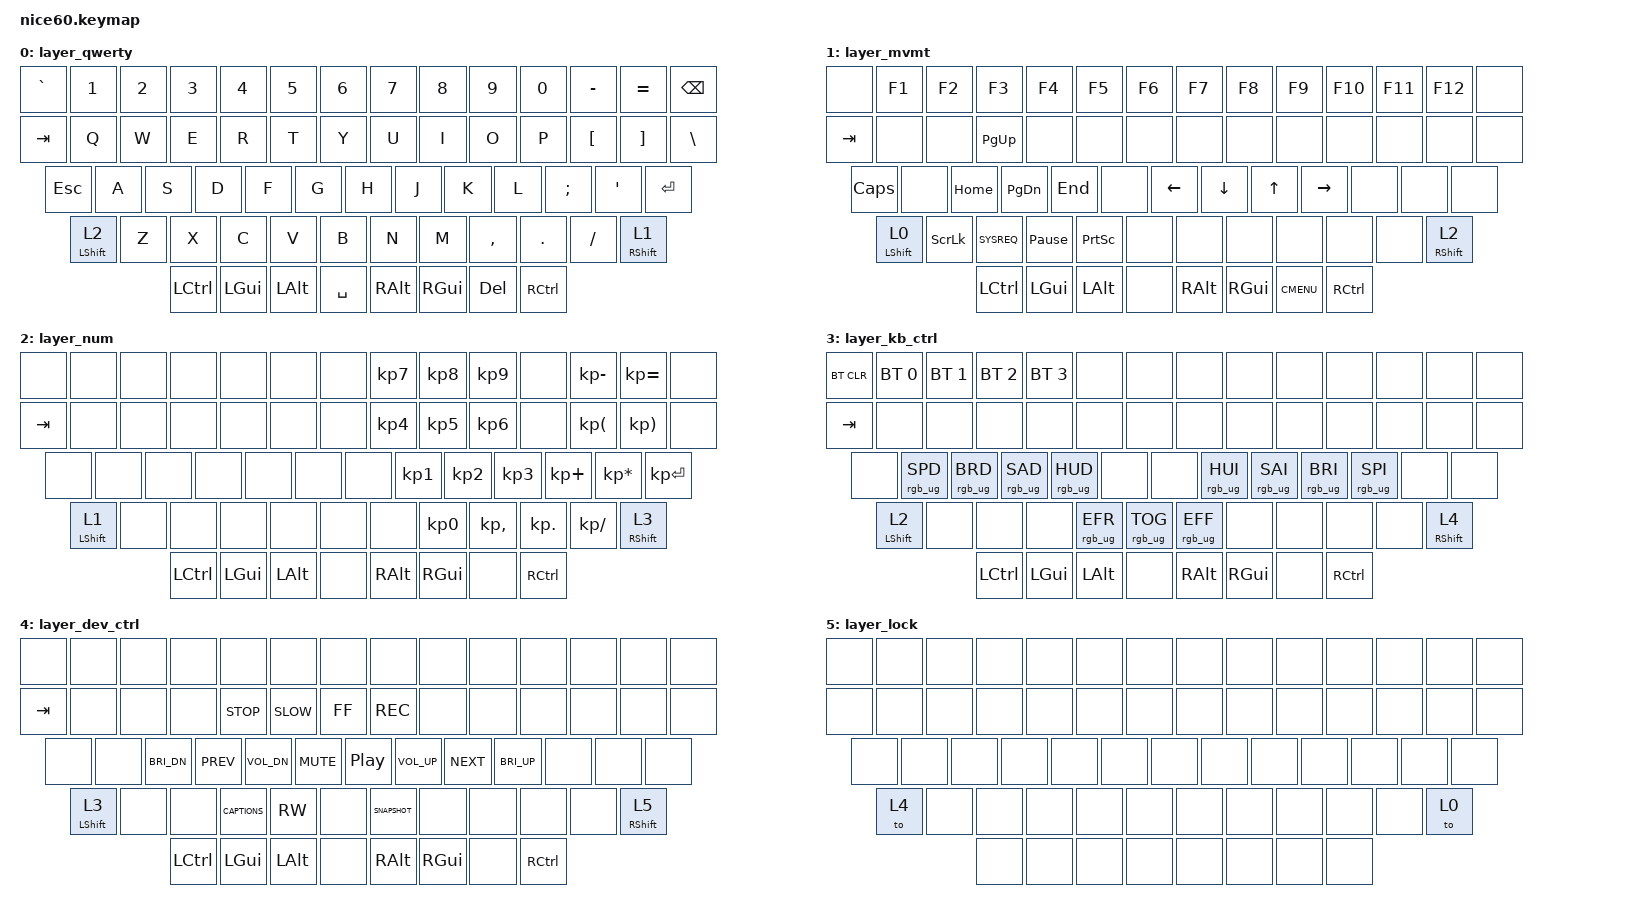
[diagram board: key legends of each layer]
/*
 * Copyright (c) 2021 Nick Winans
 *                    Colton Crowe
 *
 * SPDX-License-Identifier: MIT
 */

#include <behaviors.dtsi>
#include <dt-bindings/zmk/keys.h>
#include <dt-bindings/zmk/rgb.h>
#include <dt-bindings/zmk/bt.h>
#include <dt-bindings/zmk/outputs.h>
#include <dt-bindings/zmk/reset.h>
#include <dt-bindings/zmk/ext_power.h>

/ {
	behaviors {
		rlt: reverse_layer_tap {
			compatible = "zmk,behavior-hold-tap";
			label = "REVERSE_LAYER_TAP";
			#binding-cells = <2>;
			tapping-term-ms = <150>;
			flavor = "tap-preferred";
			bindings = <&kp>, <&to>;
		};
	};

	keymap {
		compatible = "zmk,keymap";
		
		layer_qwerty {
// -----------------------------------------------------------------------------------------------
// |  GRAVE   |  1  |  2  |  3  |  4  |  5  |  6  |  7  |  8  |  9  |  0  |  -  |  =  |   BKSP   |
// |   TAB     |  Q  |  W  |  E  |  R  |  T  |  Y  |  U  |  I  |  O  |  P  |  [  |  ]  |   "|"   |
// |   ESC      |  A  |  S  |  D  |  F  |  G  |  H  |  J  |  K  |  L  |  ;  |  '  |     ENTER    |
// | RLT(SHIFT,prv) |  Z  |  X  |  C  |  V  |  B  |  N  |  M  |  ,  |  .  |  /  | RLT(SHIFT,nxt) |
// |    CTL     |  WIN  |  ALT  |            SPACE              |  ALT  |  WIN  |  DEL   |  CTL  |
// -----------------------------------------------------------------------------------------------
			bindings = <
	&kp GRAVE &kp N1 &kp N2 &kp N3 &kp N4 &kp N5 &kp N6 &kp N7 &kp N8 &kp N9 &kp N0 &kp MINUS &kp EQUAL   &kp BSPC
	&kp TAB    &kp Q  &kp W  &kp E  &kp R  &kp T  &kp Y  &kp U  &kp I  &kp O  &kp P  &kp LBKT  &kp RBKT   &kp BSLH
	&kp ESC     &kp A  &kp S  &kp D  &kp F  &kp G  &kp H  &kp J  &kp K  &kp L  &kp SEMI &kp SQT            &kp RET
	&rlt LSHFT 2  &kp Z  &kp X  &kp C  &kp V  &kp B  &kp N  &kp M  &kp COMMA &kp DOT &kp FSLH         &rlt RSHFT 1
	&kp LCTRL   &kp LGUI &kp LALT             &kp SPACE                     &kp RALT  &kp RGUI  &kp DEL &kp RCTRL
			>;
		};

		layer_mvmt {
// --------------------------------------------------------------------------------------------------------------------------------
// |  None |   F1   |   F2   |   F3   |   F4   |   F5   |   F6   |   F7   |   F8   |   F9   |   F10  |   F11  |   F12  |   None   |
// |  TAB    |  None  |  None  |  PgUp  |  None  |  None  |  None  |  None  |  None  |  None  |  None  |   None  |  None |  None  |
// |  CAPS    |  None  |  HOME  |  PgDn  |  END   |  None  |  None  |  Left  |  Down  |   Up   |  Right |  None  |      None      |
// | RLT(SHIFT,prev)  |  SLck |  SysRq |  PauBr  |  PScrn |  None  |  None  |  None  |  None  |  None  |  None  | RLT(SHIFT,next) |
// |   CTL    |    WIN   |    ALT    |                     None                      |    ALT    |    WIN    |   MENU   |   CTL   |
// --------------------------------------------------------------------------------------------------------------------------------
			bindings = <
	&none    &kp F1 &kp F2 &kp F3 &kp F4 &kp F5 &kp F6 &kp F7 &kp F8  &kp F9 &kp F10 &kp F11   &kp F12        &none
	&kp TAB   &none  &none  &kp PG_UP &none  &none  &none  &none  &none  &none  &none  &none     &none        &none
	&kp CLCK  &none  &kp HOME  &kp PG_DN &kp END &none  &kp LEFT  &kp DOWN  &kp UP  &kp RIGHT  &none  &none   &none
	&rlt LSHFT 0 &kp SLCK &kp SYSREQ &kp PAUSE_BREAK &kp PSCRN &none  &none  &none  &none  &none &none &rlt RSHFT 2
	&kp LCTRL  &kp LGUI &kp LALT             &none                       &kp RALT  &kp RGUI  &kp K_CMENU  &kp RCTRL
			>;
		};

		layer_num {
// --------------------------------------------------------------------------------------------------------------------------------
// |  None |  None  |  None  |  None  |  None  |  None  |  None  |    7   |  8    |   9    |  None  | Minus  |  Equal  |   None   |
// |  TAB    |  None  |  None  |  None  |  None  |  None  |  None  |   4    |   5    |    6   |  None  | LParen |  RParen | None  |
// |  None    |  None  |  None  |  None  |  None  |  None  |  None  |   1    |   2    |   3    |  Plus  |  Times |      Enter     |
// | RLT(SHIFT,prev)  |  None  |  None  |  None  |  None  |  None  |  None  |   0    |  Comma |  Dot   |  Slash | RLT(SHIFT,next) |
// |   CTL    |    WIN   |    ALT    |                     None                      |    ALT    |    WIN    |   None   |   CTL   |
// --------------------------------------------------------------------------------------------------------------------------------
			bindings = <
	&none    &none  &none  &none  &none  &none  &none  &kp KP_N7 &kp KP_N8 &kp KP_N9 &none  &kp KP_MINUS     &kp KP_EQUAL         &none
	&kp TAB   &none  &none  &none  &none  &none  &none  &kp KP_N4  &kp KP_N5  &kp KP_N6  &none  &kp KP_LPAR     &kp KP_RPAR       &none
	&none      &none  &none  &none  &none  &none  &none  &kp KP_N1  &kp KP_N2  &kp KP_N3  &kp KP_PLUS    &kp KP_MULTIPLY   &kp KP_ENTER
	&rlt LSHFT 1 &none  &none  &none  &none  &none  &none  &kp KP_N0  &kp KP_COMMA     &kp KP_DOT   &kp KP_SLASH           &rlt RSHFT 3
	&kp LCTRL     &kp LGUI    &kp LALT                     &none                         &kp RALT    &kp RGUI    &none        &kp RCTRL
			>;
		};

		layer_kb_ctrl {
// --------------------------------------------------------------------------------------------------------------------------------
// | BT CLR |  BT 1  |  BT 2  |  BT 3  |  BT 4  |  None  |  None  |  None  |  None  |  None  |  None  |  None  |  None  |  None   |
// |  TAB    |  None  |  None  |  None  |  None  |  None  |  None  |  None  |  None  |  None  |  None  |   None  |  None |  None  |
// |  None    | SPDDN | BRIDN |  SATDN  |  HUEDN  |  None  |  None  |  HUEUP  |  SATUP  |  BRIUP  | SPDUP | None |      None      |
// | RLT(SHIFT,prev)  |  None  |  None | None | Effect Rev | Tog RGB | Effect Fwd | None | None | None |  None  | RLT(SHIFT,next) |
// |   CTL    |    WIN   |    ALT    |                     None                      |    ALT    |    WIN    |   NONE   |   CTL   |
// --------------------------------------------------------------------------------------------------------------------------------
			bindings = <
	&bt BT_CLR    &bt BT_SEL 0    &bt BT_SEL 1    &bt BT_SEL 2    &bt BT_SEL 3    &none    &none    &none    &none    &none    &none    &none    &none      &none
	&kp TAB        &none      &none      &none      &none      &none      &none      &none      &none       &none       &none       &none       &none       &none
	&none &rgb_ug RGB_SPD &rgb_ug RGB_BRD &rgb_ug RGB_SAD &rgb_ug RGB_HUD &none &none &rgb_ug RGB_HUI &rgb_ug RGB_SAI &rgb_ug RGB_BRI &rgb_ug RGB_SPI &none &none
	&rlt LSHFT 2    &none    &none    &none    &rgb_ug RGB_EFR    &rgb_ug RGB_TOG    &rgb_ug RGB_EFF    &none    &none    &none    &none             &rlt RSHFT 4
	&kp LCTRL        &kp LGUI        &kp LALT                             &none                            &kp RALT        &kp RGUI        &none        &kp RCTRL
			>;
		};

		layer_dev_ctrl {
// --------------------------------------------------------------------------------------------------------------------------------
// |  None |  None  |  None  |  None  |  None  |  None  |  None  |  None  |  None  |  None  |  None  |  None  |  None  |   None   |
// |  TAB    |  None  |  None  |  None  | Stop |  Slow  |  Ffwd  |  Record  |  None  |  None  |  None  |   None  |  None |  None  |
// |  None    |  None  |  BriDn |  Prev  | VolDn |  Mute  | Play/Pause | VolUp | Next | BriUp  |  None  |  None  |      None      |
// | RLT(SHIFT,prev)  |  None  |  None  | Caption |  RW   |  None  |  Snap  |  None  |  None  |  None  |  None  | RLT(SHIFT,next) |
// |   CTL    |    WIN   |    ALT    |                     None                      |    ALT    |    WIN    |   None   |   CTL   |
// --------------------------------------------------------------------------------------------------------------------------------
			bindings = <
	&none     &none   &none   &none    &none    &none   &none    &none   &none    &none    &none   &none     &none           &none
	&kp TAB   &none   &none   &none   &kp C_STOP  &kp C_SLOW  &kp C_FF  &kp C_REC  &none   &none   &none   &none    &none    &none
	&none  &none &kp C_BRI_DN &kp C_PREV &kp C_VOL_DN &kp C_MUTE &kp C_PP &kp C_VOL_UP &kp C_NEXT &kp C_BRI_UP &none  &none  &none
	&rlt LSHFT 3  &none   &none   &kp C_CAPTIONS  &kp C_RW  &none  &kp C_SNAPSHOT   &none   &none    &none    &none   &rlt RSHFT 5
	&kp LCTRL   &kp LGUI  &kp LALT                         &none                         &kp RALT   &kp RGUI   &none     &kp RCTRL
			>;
		};

		layer_lock {
// ---------------------------------------------------------------------------------------------------------------------------------
// |  None  |  None  |  None  |  None  |  None  |  None  |  None  |  None  |  None  |  None  |  None  |  None  |  None  |   None   |
// |  None    |  None  |  None  |  None  |  None  |  None  |  None  |  None  |  None  |  None  |  None  |   None  |  None |  None  |
// |   None    |  None  |  None  |  None  |  None  |  None  |  None  |  None  |  None  |  None  |  None  |  None  |      None      |
// |    TO(3)    |  None  |  None  |  None  |  None  |  None  |  None  |  None  |  None  |  None  |  None  |        TO(0)          |
// |   None    |   None   |   None   |                     None                      |    None   |    None    |   None  |   None   |
// ---------------------------------------------------------------------------------------------------------------------------------
			bindings = <
	&none   &none  &none  &none  &none  &none  &none  &none  &none  &none  &none  &none     &none     &none
	&none    &none  &none  &none  &none  &none  &none  &none  &none  &none  &none  &none     &none    &none
	&none     &none  &none  &none  &none  &none  &none  &none  &none  &none  &none    &none           &none
	&to 4       &none  &none  &none  &none  &none  &none  &none  &none     &none   &none              &to 0
	&none     &none    &none                &none                         &none     &none     &none   &none
			>;
		};

		layer_temp {
// --------------------------------------------------------------------------------------------------------------------------------
// |  None |  None  |  None  |  None  |  None  |  None  |  None  |  None  |  None  |  None  |  None  |  None  |  None  |   None   |
// |  TAB    |  None  |  None  |  None  |  None  |  None  |  None  |  None  |  None  |  None  |  None  |   None  |  None |  None  |
// |  None    |  None  |  None  |  None  |  None  |  None  |  None  |  None  |  None  |  None  |  None  |  None  |      None      |
// | RLT(SHIFT,prev)  |  None  |  None  |  None  |  None  |  None  |  None  |  None  |  None  |  None  |  None  | RLT(SHIFT,next) |
// |   CTL    |    WIN   |    ALT    |                     None                      |    ALT    |    WIN    |   None   |   CTL   |
// --------------------------------------------------------------------------------------------------------------------------------
			bindings = <
	&none    &none  &none  &none  &none  &none  &none  &none  &none  &none  &none  &none     &none          &none
	&kp TAB   &none  &none  &none  &none  &none  &none  &none  &none  &none  &none  &none     &none         &none
	&none      &none  &none  &none  &none  &none  &none  &none  &none  &none  &none    &none                &none
	&rlt LSHFT 0 &none  &none  &none  &none  &none  &none  &none  &none     &none   &none            &rlt RSHFT 1
	&kp LCTRL  &kp LGUI &kp LALT             &none                         &kp RALT  &kp RGUI  &none    &kp RCTRL
			>;
			status = "disabled";
		};
	};
};
